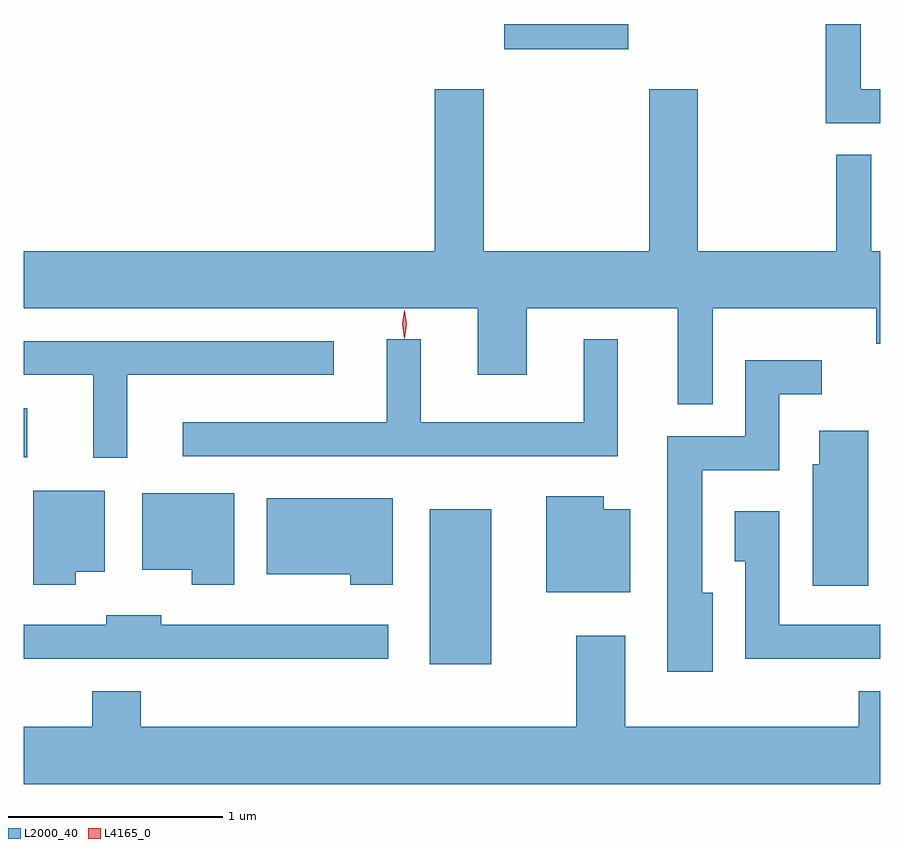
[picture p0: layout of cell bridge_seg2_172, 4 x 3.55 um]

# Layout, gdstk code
import gdstk
lib = gdstk.Library(unit=1e-6, precision=1e-09)
def R(c, l, rs):  # rectangles x0, y0, x1, y1
    for r in rs: c.add(gdstk.rectangle(r[:2], r[2:], *l))
def P(c, l, *ps):  # polygons
    for p in ps: c.add(gdstk.Polygon(p, *l))
L2000_40 = (2000, 40)
L4165_0 = (4165, 0)

bridge_seg2_172 = lib.new_cell('bridge_seg2_172')
R(bridge_seg2_172, L2000_40, [(708.506,988.936,708.794,989.659), (706.611,989.901,706.629,990.129), (708.856,991.806,709.434,991.924)])
P(bridge_seg2_172, L2000_40, [(710.611,991.619),(710.519,991.619),(710.519,991.924),(710.356,991.924),(710.356,991.461),(710.611,991.461)],
  [(709.829,990.596),(710.591,990.596),(710.591,990.431),(710.611,990.431),(710.611,990.864),(710.569,990.864),(710.569,991.313),(710.406,991.313),(710.406,990.864),(709.759,990.864),(709.759,991.619),(709.531,991.619),(709.531,990.864),(708.759,990.864),(708.759,991.619),(708.531,991.619),(708.531,990.864),(706.611,990.864),(706.611,990.596),(708.731,990.596),(708.731,990.286),(708.959,990.286),(708.959,990.596),(709.666,990.596),(709.666,990.148),(709.829,990.148)],
  [(709.384,990.453),(709.226,990.453),(709.226,990.064),(708.464,990.064),(708.464,990.453),(708.306,990.453),(708.306,990.064),(707.353,990.064),(707.353,989.906),(709.384,989.906)],
  [(707.094,990.286),(708.058,990.286),(708.058,990.444),(706.611,990.444),(706.611,990.286),(706.936,990.286),(706.936,989.898),(707.094,989.898)],
  [(709.829,989.269),(709.779,989.269),(709.779,989.841),(710.139,989.841),(710.139,990.196),(710.338,990.196),(710.338,990.354),(709.981,990.354),(709.981,989.999),(709.616,989.999),(709.616,988.901),(709.829,988.901)],
  [(710.554,990.024),(710.326,990.024),(710.326,989.869),(710.296,989.869),(710.296,989.301),(710.554,989.301)],
  [(706.854,989.366),(706.989,989.366),(706.989,989.744),(706.656,989.744),(706.656,989.306),(706.854,989.306)],
  [(707.594,989.734),(707.166,989.734),(707.166,989.376),(707.396,989.376),(707.396,989.306),(707.594,989.306)],
  [(709.444,989.659),(709.319,989.659),(709.319,989.719),(709.051,989.719),(709.051,989.271),(709.444,989.271)],
  [(708.334,989.709),(707.746,989.709),(707.746,989.356),(708.136,989.356),(708.136,989.306),(708.334,989.306)],
  [(710.611,989.119),(710.139,989.119),(710.139,989.649),(709.931,989.649),(709.931,989.416),(709.981,989.416),(709.981,988.961),(710.611,988.961)],
  [(708.313,989.119),(707.254,989.119),(707.254,989.164),(706.996,989.164),(706.996,989.119),(706.611,989.119),(706.611,988.961),(708.313,988.961)],
  [(710.611,988.809),(710.511,988.809),(710.511,988.644),(709.419,988.644),(709.419,989.069),(709.191,989.069),(709.191,988.644),(707.159,988.644),(707.159,988.809),(706.931,988.809),(706.931,988.644),(706.611,988.644),(706.611,988.376),(710.611,988.376)])
P(bridge_seg2_172, L4165_0, [(708.389,990.458),(708.389,990.458),(708.379,990.522),(708.389,990.586),(708.39,990.587),(708.39,990.586),(708.399,990.522),(708.39,990.458)])

lib.write_gds('bridge_seg2_172.gds')
